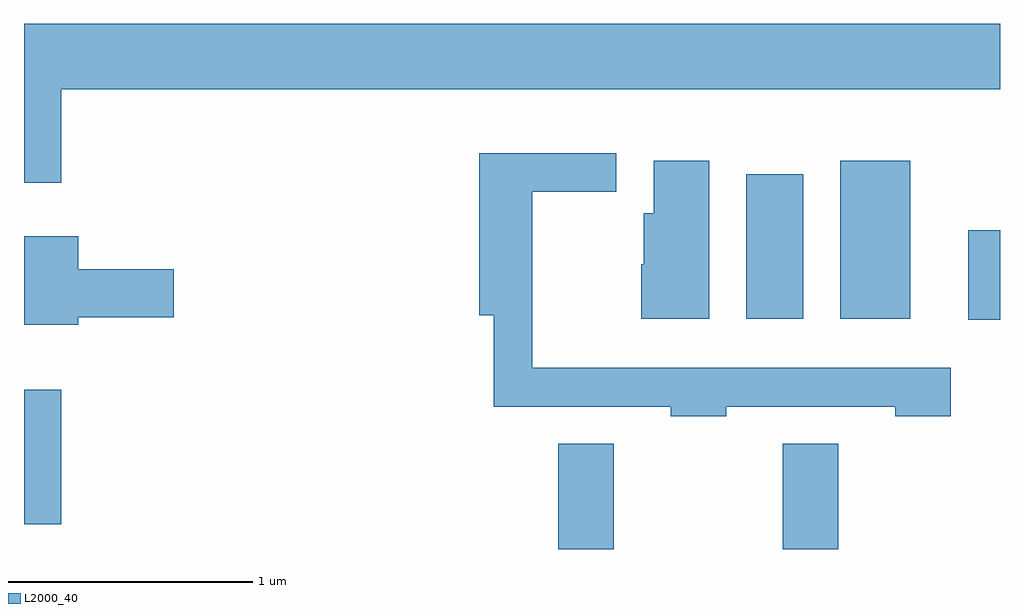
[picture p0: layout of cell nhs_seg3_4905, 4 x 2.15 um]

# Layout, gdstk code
import gdstk
lib = gdstk.Library(unit=1e-6, precision=1e-09)
def R(c, l, rs):  # rectangles x0, y0, x1, y1
    for r in rs: c.add(gdstk.rectangle(r[:2], r[2:], *l))
def P(c, l, *ps):  # polygons
    for p in ps: c.add(gdstk.Polygon(p, *l))
L2000_40 = (2000, 40)

nhs_seg3_4905 = lib.new_cell('nhs_seg3_4905')
R(nhs_seg3_4905, L2000_40, [(331.801,1141.892,332.029,1142.324), (332.721,1141.892,332.949,1142.324), (329.611,1141.993,329.764,1142.544), (333.481,1142.831,333.611,1143.199), (332.571,1142.836,332.804,1143.429), (332.956,1142.836,333.244,1143.484)])
P(nhs_seg3_4905, L2000_40, [(329.764,1143.776),(333.611,1143.776),(333.611,1144.044),(329.611,1144.044),(329.611,1143.393),(329.764,1143.393)],
  [(332.489,1142.476),(333.181,1142.476),(333.181,1142.436),(333.409,1142.436),(333.409,1142.634),(331.694,1142.634),(331.694,1143.356),(332.038,1143.356),(332.038,1143.514),(331.476,1143.514),(331.476,1142.851),(331.536,1142.851),(331.536,1142.476),(332.261,1142.476),(332.261,1142.436),(332.489,1142.436)],
  [(332.419,1143.484),(332.191,1143.484),(332.191,1143.269),(332.151,1143.269),(332.151,1143.06),(332.141,1143.06),(332.141,1142.836),(332.419,1142.836)],
  [(329.834,1142.841),(330.224,1142.841),(330.224,1143.039),(329.834,1143.039),(329.834,1143.174),(329.611,1143.174),(329.611,1142.811),(329.834,1142.811)])

lib.write_gds('nhs_seg3_4905.gds')
